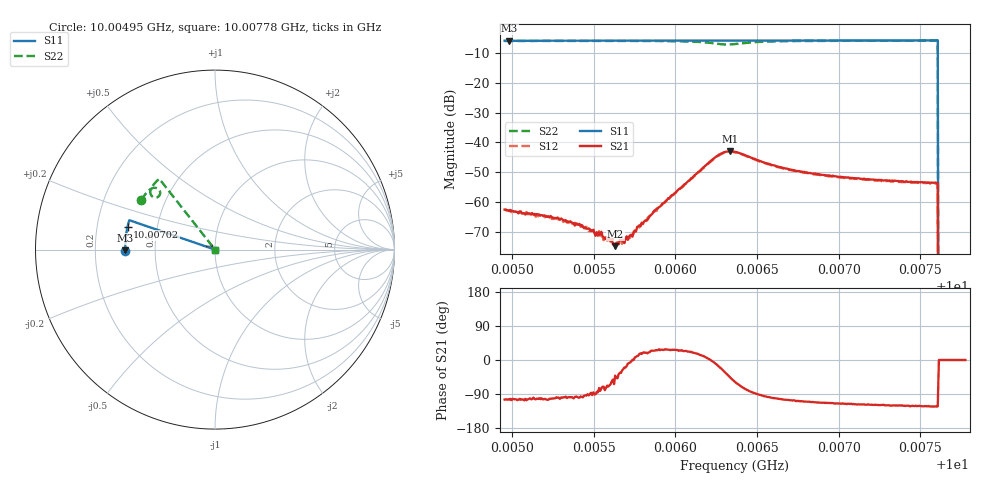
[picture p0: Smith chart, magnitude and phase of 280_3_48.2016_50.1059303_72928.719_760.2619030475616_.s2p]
#  HZ  S  RI  R  50.00
! Rohde & Schwarz Vector Network Analyzer
! Rohde-Schwarz,ZNB20-2Port,1311601062101988,3.16
! Created: UTC 3/20/2024, 11:48:38 AM
! freq[Hz]  re:S11  im:S11  re:S21  im:S21  re:S12  im:S12  re:S22  im:S22
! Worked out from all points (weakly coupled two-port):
!   401 points, 10.00495 GHz to 10.00778 GHz, reference 50 ohm
!   highest |S21| = -42.93 dB at 10.00634 GHz (marker M1); lowest = -74.6 dB at 10.00563 GHz (marker M2)
!   lowest |S11| = -6.0 dB at 10.00498 GHz (marker M3), VSWR 3.00, Z = 16.7 - j0.15 ohm
!   |S11| at or under -10 dB: 10.00761 GHz to end of sweep
!   |S22| runs from - to -6.0 dB; largest |S21 - S12| = 0.00042
!   S11 on the Smith chart (normalised r, x): 10.00495 GHz: 0.33, -0.00; 10.00702 GHz: 0.33, +0.11; 10.00778 GHz: 1.00, +0.00
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1.0004952e10  -0.4996 -0.00528  -0.000188 -0.000731  -0.000134 -0.000716  -0.4108 0.2752
1.0004981e10  -0.4995 -0.00337  -0.000182 -0.000692  -0.000151 -0.000713  -0.4098 0.2769
1.0005284e10  -0.4999 0.0164  -8.52e-05 -0.000532  -5.87e-05 -0.000514  -0.3982 0.2949
1.0005426e10  -0.4997 0.0255  -5.1e-05 -0.000416  -4.43e-05 -0.000399  -0.3922 0.3034
1.0005546e10  -0.4996 0.0334  8.68e-05 -0.000311  7.55e-05 -0.000279  -0.3866 0.3107
1.000563e10  -0.4994 0.0389  0.00014 -0.000122  0.000154 -0.000121  -0.3823 0.3157
1.0005645e10  -0.4993 0.0397  0.000134 -0.000149  0.000145 -0.00016  -0.3815 0.3168
1.0005708e10  -0.4992 0.0439  0.000235 -3.99e-05  0.000232 -4.95e-05  -0.3779 0.3208
1.0005743e10  -0.4989 0.0461  0.000308 -9.18e-07  0.000321 3.97e-05  -0.3758 0.3231
1.0005779e10  -0.4988 0.0485  0.000396 0.000113  0.000369 0.000102  -0.3736 0.3252
1.0005899e10  -0.4983 0.0563  0.00073 0.000392  0.000724 0.00036  -0.3647 0.3331
1.0006231e10  -0.4955 0.0774  0.00527 -0.000416  0.00518 -0.000174  -0.3101 0.3316
1.0006287e10  -0.495 0.0809  0.00601 -0.00288  0.00601 -0.00254  -0.3064 0.3093
1.0006337e10  -0.4947 0.0838  0.00487 -0.00522  0.00504 -0.00486  -0.3201 0.2923
1.0006365e10  -0.4943 0.0856  0.00371 -0.0059  0.00394 -0.00562  -0.3315 0.2895
1.0006612e10  -0.4923 0.1013  -0.000794 -0.00401  -0.000604 -0.00393  -0.3594 0.3297
1.0006838e10  -0.4899 0.1158  -0.00108 -0.00284  -0.000929 -0.00285  -0.3496 0.3517
1.0007022e10  -0.4874 0.1275  -0.0011 -0.00238  -0.000975 -0.0024  -0.3403 0.3641
1.0007311e10  -0.4829 0.1454  -0.00114 -0.00201  -0.00104 -0.00202  -0.3258 0.3804
1.0007594e10  -0.4779 0.163  -0.00114 -0.00181  -0.00103 -0.00178  -0.3115 0.394
1.0007629e10  0 0  0 0  0 0  0 0
1.0007777e10  0 0  0 0  0 0  0 0
